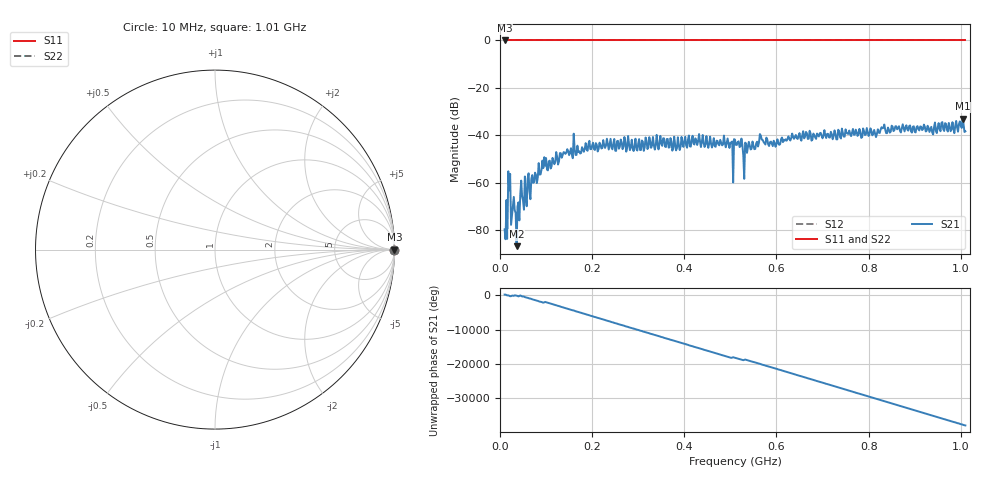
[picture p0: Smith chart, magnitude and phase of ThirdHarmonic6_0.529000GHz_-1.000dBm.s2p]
! 8/15/2025 4:26:30 PM
! C:\ANRITSUVNA\TEMP\TEMP.S2P
! CHANNEL.1
! TR.MEASUREMENT
! RAW.DATA
! RF.CORRECTION.OFF
! AVERAGING.OFF
! IF.BANDWIDTH: 5KHZ
! SWEEPTYPE:  FREQ.SWEEP(Linear)
! Reference Plane Port Info
! PORT:  PORT1  PORT2
! DISTANCE:  0  m  0  m
! TIME:  0  s  0  s
! PHASE.OFFSET:  0  deg.  0  deg.
! LOSS:  0  dB  0  dB
! REF.LOSS:  0  dB  0  dB
! REF.FREQ:  0  Hz  0  Hz
! Power Info
! POWER:  -20  dBm  -20  dBm
! EFF.POWER:  -20  dBm  -20  dBm
! SOURCE.ATTEN:  0  dB  0  dB
! TEST.ATTEN:  0  dB  0  dB
# GHZ S RI R 50.0
! FREQ.GHZ  S11RE  S11IM  S21RE  S21IM  S12RE  S12IM  S22RE  S22IM
!; PortSelection: Port_12
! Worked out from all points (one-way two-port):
!   501 points, 10 MHz to 1.01 GHz, reference 50 ohm
!   highest |S21| = -32.98 dB at 1.004 GHz (marker M1); lowest = -86.8 dB at 36 MHz (marker M2)
!   lowest |S11| = 0.0 dB at 10 MHz (marker M3)
!   |S11| at or under -10 dB: nowhere
!   |S22| runs from 0.0 to 0.0 dB; largest |S21 - S12| = 1
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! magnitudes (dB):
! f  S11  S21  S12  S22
! 10 MHz  0.0  -79.7  0.0  0.0
! 12 MHz  0.0  -83.9  0.0  0.0
! 18 MHz  0.0  -55.2  0.0  0.0
! 28 MHz  0.0  -69.9  0.0  0.0
! 36 MHz  0.0  -86.8  0.0  0.0
! 50 MHz  0.0  -67.6  0.0  0.0
! 54 MHz  0.0  -57.4  0.0  0.0
! 58 MHz  0.0  -70.0  0.0  0.0
! 96 MHz  0.0  -49.3  0.0  0.0
! 178 MHz  0.0  -45.1  0.0  0.0
! 344 MHz  0.0  -46.0  0.0  0.0
! 490 MHz  0.0  -45.1  0.0  0.0
! 510 MHz  0.0  -41.9  0.0  0.0
! 512 MHz  0.0  -44.1  0.0  0.0
! 532 MHz  0.0  -43.1  0.0  0.0
! 536 MHz  0.0  -47.4  0.0  0.0
! 566 MHz  0.0  -40.1  0.0  0.0
! 596 MHz  0.0  -43.1  0.0  0.0
! 678 MHz  0.0  -41.9  0.0  0.0
! 844 MHz  0.0  -37.7  0.0  0.0
! 1.004 GHz  0.0  -33.0  0.0  0.0
! 1.01 GHz  0.0  -38.3  0.0  0.0
